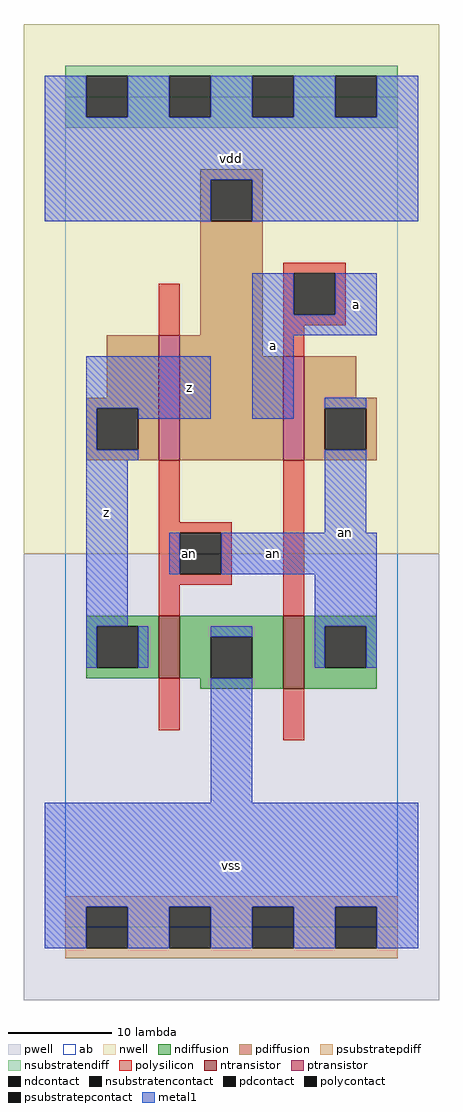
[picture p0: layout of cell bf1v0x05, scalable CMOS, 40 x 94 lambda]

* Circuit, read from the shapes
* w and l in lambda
.subckt bf1v0x05 a an vdd vss z
M1 vss an z vss nfet w=6 l=2
M2 an a vss vss nfet w=7 l=2
M3 vdd an z vdd pfet w=12 l=2
M4 an a vdd vdd pfet w=10 l=2
.ends

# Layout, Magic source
magic
tech scmos
<< ab >>
rect 0 0 32 80
<< pwell >>
rect -4 -7 36 36
<< nwell >>
rect -4 36 36 87
<< polysilicon >>
rect 9 57 11 62
rect 21 63 27 64
rect 21 59 22 63
rect 26 59 27 63
rect 21 58 27 59
rect 21 55 23 58
rect 9 39 11 45
rect 9 38 16 39
rect 9 34 11 38
rect 15 34 16 38
rect 9 33 16 34
rect 9 30 11 33
rect 21 30 23 45
rect 9 19 11 24
rect 21 18 23 23
<< ndiffusion >>
rect 2 29 9 30
rect 2 25 3 29
rect 7 25 9 29
rect 2 24 9 25
rect 11 28 21 30
rect 11 24 14 28
rect 18 24 21 28
rect 13 23 21 24
rect 23 29 30 30
rect 23 25 25 29
rect 29 25 30 29
rect 23 23 30 25
<< pdiffusion >>
rect 13 72 19 73
rect 13 68 14 72
rect 18 68 19 72
rect 13 57 19 68
rect 4 51 9 57
rect 2 50 9 51
rect 2 46 3 50
rect 7 46 9 50
rect 2 45 9 46
rect 11 55 19 57
rect 11 45 21 55
rect 23 51 28 55
rect 23 50 30 51
rect 23 46 25 50
rect 29 46 30 50
rect 23 45 30 46
<< metal1 >>
rect -2 78 2 82
rect 6 78 10 82
rect 14 78 18 82
rect 22 78 26 82
rect 30 78 34 82
rect -2 72 34 78
rect -2 68 14 72
rect 18 68 34 72
rect 18 59 22 63
rect 26 59 30 63
rect 18 57 30 59
rect 2 50 14 55
rect 2 46 3 50
rect 7 49 14 50
rect 18 49 22 57
rect 25 50 29 51
rect 2 45 7 46
rect 2 29 6 45
rect 25 38 29 46
rect 10 34 11 38
rect 15 34 30 38
rect 24 29 30 34
rect 2 25 3 29
rect 7 25 8 29
rect 14 28 18 29
rect 24 25 25 29
rect 29 25 30 29
rect 14 12 18 24
rect -2 2 34 12
rect -2 -2 2 2
rect 6 -2 10 2
rect 14 -2 18 2
rect 22 -2 26 2
rect 30 -2 34 2
<< ntransistor >>
rect 9 24 11 30
rect 21 23 23 30
<< ptransistor >>
rect 9 45 11 57
rect 21 45 23 55
<< polycontact >>
rect 22 59 26 63
rect 11 34 15 38
<< ndcontact >>
rect 3 25 7 29
rect 14 24 18 28
rect 25 25 29 29
<< pdcontact >>
rect 14 68 18 72
rect 3 46 7 50
rect 25 46 29 50
<< psubstratepcontact >>
rect 2 -2 6 2
rect 10 -2 14 2
rect 18 -2 22 2
rect 26 -2 30 2
<< nsubstratencontact >>
rect 2 78 6 82
rect 10 78 14 82
rect 18 78 22 82
rect 26 78 30 82
<< psubstratepdiff >>
rect 0 2 32 3
rect 0 -2 2 2
rect 6 -2 10 2
rect 14 -2 18 2
rect 22 -2 26 2
rect 30 -2 32 2
rect 0 -3 32 -2
<< nsubstratendiff >>
rect 0 82 32 83
rect 0 78 2 82
rect 6 78 10 82
rect 14 78 18 82
rect 22 78 26 82
rect 30 78 32 82
rect 0 77 32 78
<< labels >>
rlabel polycontact 12 36 12 36 6 an
rlabel metal1 4 40 4 40 6 z
rlabel metal1 12 52 12 52 6 z
rlabel metal1 16 6 16 6 6 vss
rlabel metal1 20 56 20 56 6 a
rlabel metal1 16 74 16 74 6 vdd
rlabel metal1 20 36 20 36 6 an
rlabel metal1 27 38 27 38 6 an
rlabel metal1 28 60 28 60 6 a
<< end >>
